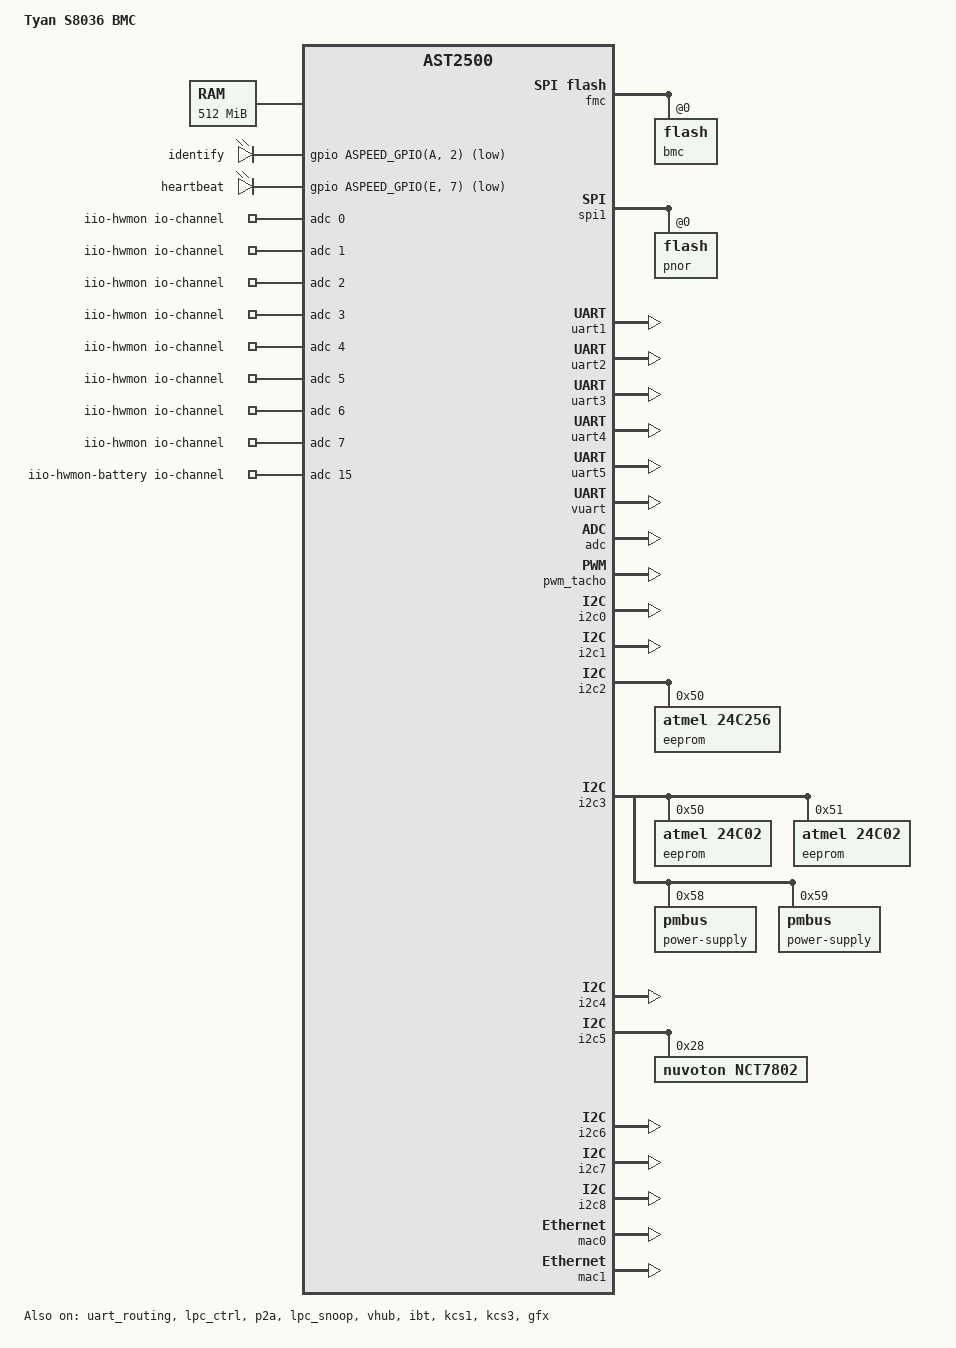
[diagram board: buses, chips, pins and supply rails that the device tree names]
// SPDX-License-Identifier: GPL-2.0+
/dts-v1/;

#include "aspeed-g5.dtsi"
#include <dt-bindings/gpio/aspeed-gpio.h>
#include <dt-bindings/interrupt-controller/irq.h>

/ {
	model = "Tyan S8036 BMC";
	compatible = "tyan,s8036-bmc", "aspeed,ast2500";

	chosen {
		stdout-path = &uart5;
		bootargs = "console=ttyS4,115200 earlycon";
	};

	memory@80000000 {
		device_type = "memory";
		reg = <0x80000000 0x20000000>;
	};

	reserved-memory {
		#address-cells = <1>;
		#size-cells = <1>;
		ranges;

		p2a_memory: region@987f0000 {
			no-map;
			reg = <0x987f0000 0x00010000>; /* 64KB */
		};

		vga_memory: framebuffer@9f000000 {
			no-map;
			reg = <0x9f000000 0x01000000>; /* 16M */
		};

		gfx_memory: framebuffer {
			size = <0x01000000>; /* 16M */
			alignment = <0x01000000>;
			compatible = "shared-dma-pool";
			reusable;
		};
	};

	leds {
		compatible = "gpio-leds";

		identify {
			gpios = <&gpio ASPEED_GPIO(A, 2) GPIO_ACTIVE_LOW>;
		};

		heartbeat {
			gpios = <&gpio ASPEED_GPIO(E, 7) GPIO_ACTIVE_LOW>;
		};
	};

	iio-hwmon {
		compatible = "iio-hwmon";
		io-channels = <&adc 0>, <&adc 1>, <&adc 2>, <&adc 3>,
			<&adc 4>, <&adc 5>, <&adc 6>, <&adc 7>,
			<&adc 8>, <&adc 9>, <&adc 10>, <&adc 11>,
			<&adc 12>, <&adc 13>, <&adc 14>;
	};

	iio-hwmon-battery {
		compatible = "iio-hwmon";
		io-channels = <&adc 15>;
	};
};

&fmc {
	status = "okay";
	flash@0 {
		label = "bmc";
		status = "okay";
		m25p,fast-read;
#include "openbmc-flash-layout.dtsi"
	};
};

&spi1 {
	status = "okay";
	pinctrl-names = "default";
	pinctrl-0 = <&pinctrl_spi1_default>;

	flash@0 {
		status = "okay";
		label = "pnor";
		m25p,fast-read;
	};
};

&uart1 {
	/* Rear RS-232 connector */
	status = "okay";
	pinctrl-names = "default";
	pinctrl-0 = <&pinctrl_txd1_default
			&pinctrl_rxd1_default>;
};

&uart2 {
	/* RS-232 connector on header */
	status = "okay";
	pinctrl-names = "default";
	pinctrl-0 = <&pinctrl_txd2_default
			&pinctrl_rxd2_default>;
};

&uart3 {
	/* Alternative to vuart to internally connect (route) to uart1
	 * when vuart cannot be used due to BIOS limitations.
	 */
	status = "okay";
};

&uart4 {
	/* Alternative to vuart to internally connect (route) to the
	 * external port usually used by uart1 when vuart cannot be
	 * used due to BIOS limitations.
	 */
	status = "okay";
};

&uart5 {
	/* BMC "debug" (console) UART; connected to RS-232 connector
	 * on header; selectable via jumpers as alternative to uart2
	 */
	status = "okay";
};

&uart_routing {
	status = "okay";
};

&vuart {
	status = "okay";

	/* We enable the VUART here, but leave it in a state that does
	 * not interfere with the SuperIO. The goal is to have both the
	 * VUART and the SuperIO available and decide at runtime whether
	 * the VUART should actually be used. For that reason, configure
	 * an "invalid" IO address and an IRQ that is not used by the
	 * BMC.
	 */
	aspeed,lpc-io-reg = <0xffff>;
	aspeed,lpc-interrupts = <15 IRQ_TYPE_LEVEL_HIGH>;
};

&lpc_ctrl {
	status = "okay";
};

&p2a {
	status = "okay";
	memory-region = <&p2a_memory>;
};

&lpc_snoop {
	status = "okay";
	snoop-ports = <0x80>;
};

&adc {
	status = "okay";
};

&vhub {
	status = "okay";
};

&pwm_tacho {
	status = "okay";
	pinctrl-names = "default";
	pinctrl-0 = <&pinctrl_pwm0_default
			&pinctrl_pwm1_default
			&pinctrl_pwm3_default
			&pinctrl_pwm4_default>;

	/* CPU fan */
	fan@0 {
		reg = <0x00>;
		aspeed,fan-tach-ch = /bits/ 8 <0x00>;
	};

	/* PWM group for chassis fans #1, #2, #3 and #4 */
	fan@2 {
		reg = <0x03>;
		aspeed,fan-tach-ch = /bits/ 8 <0x02>;
	};

	fan@3 {
		reg = <0x03>;
		aspeed,fan-tach-ch = /bits/ 8 <0x03>;
	};

	fan@4 {
		reg = <0x03>;
		aspeed,fan-tach-ch = /bits/ 8 <0x04>;
	};

	fan@5 {
		reg = <0x03>;
		aspeed,fan-tach-ch = /bits/ 8 <0x05>;
	};

	/* PWM group for chassis fans #5 and #6  */
	fan@6 {
		reg = <0x04>;
		aspeed,fan-tach-ch = /bits/ 8 <0x06>;
	};

	fan@7 {
		reg = <0x04>;
		aspeed,fan-tach-ch = /bits/ 8 <0x07>;
	};
};

&i2c0 {
	/* Directly connected to Sideband-Temperature Sensor Interface (APML) */
	status = "okay";
};

&i2c1 {
	/* Directly connected to IPMB HDR. */
	status = "okay";
};

&i2c2 {
	status = "okay";

	/* BMC EEPROM, incl. mainboard FRU */
	eeprom@50 {
		compatible = "atmel,24c256";
		reg = <0x50>;
	};
	/* Also connected to:
	 * - BCM5720
	 * - FPGA
	 * - FAN HDR
	 * - FPIO HDR
	 */
};

&i2c3 {
	status = "okay";

	/* PSU1 FRU @ 0xA0 */
	eeprom@50 {
		compatible = "atmel,24c02";
		reg = <0x50>;
	};

	/* PSU2 FRU @ 0xA2 */
	eeprom@51 {
		compatible = "atmel,24c02";
		reg = <0x51>;
	};

	/* PSU1 @ 0xB0 */
	power-supply@58 {
		compatible = "pmbus";
		reg = <0x58>;
	};

	/* PSU2 @ 0xB2 */
	power-supply@59 {
		compatible = "pmbus";
		reg = <0x59>;
	};

};

&i2c4 {
	status = "okay";
};

&i2c5 {
	status = "okay";
	/* Hardware monitor with temperature sensors */
	nct7802@28 {
		compatible = "nuvoton,nct7802";
		reg = <0x28>;
		#address-cells = <1>;
		#size-cells = <0>;

		channel@0 { /* LTD */
			reg = <0>;
			status = "okay";
		};

		channel@1 { /* RTD1 */
			reg = <1>;
			status = "okay";
			sensor-type = "temperature";
			temperature-mode = "thermistor";
		};

		channel@2 { /* RTD2 */
			reg = <2>;
			status = "okay";
			sensor-type = "temperature";
			temperature-mode = "thermistor";
		};

		channel@3 { /* RTD3 */
			reg = <3>;
			status = "okay";
			sensor-type = "temperature";
		};
	};

	/* Also connected to:
	 * - PCA9544
	 * - CLK BUFF
	 * - OCP FRU
	 */
};

&i2c6 {
	status = "okay";
	/* Connected to:
	 * - PCA9548 @0xE0
	 * - PCA9548 @0xE2
	 * - PCA9544 @0xE4
	 */
};

&i2c7 {
	status = "okay";

	/* Connected to:
	 * - PCH SMBUS #4
	 */
};

&i2c8 {
	status = "okay";

	/* Not connected */
};

&mac0 {
	status = "okay";
	use-ncsi;
	pinctrl-names = "default";
	pinctrl-0 = <&pinctrl_rmii1_default>;
};

&mac1 {
	status = "okay";
	pinctrl-names = "default";
	pinctrl-0 = <&pinctrl_rgmii2_default &pinctrl_mdio2_default>;
};

&ibt {
	status = "okay";
};

&kcs1 {
	status = "okay";
	aspeed,lpc-io-reg = <0xca8>;
};

&kcs3 {
	status = "okay";
	aspeed,lpc-io-reg = <0xca2>;
	aspeed,lpc-interrupts = <1 IRQ_TYPE_LEVEL_HIGH>;
};

/* Enable BMC VGA output to show an early (pre-BIOS) boot screen */
&gfx {
	status = "okay";
	memory-region = <&gfx_memory>;
};

/* We're following the GPIO naming as defined at
 * https://github.com/openbmc/docs/blob/master/designs/device-tree-gpio-naming.md.
 *
 * Notes on led-identify and id-button:
 * - A physical button is connected to id-button which
 *   triggers the clock on a D flip-flop. The /Q output of the
 *   flip-flop drives its D input.
 * - The flip-flop's Q output drives led-identify which is
 *   connected to LEDs.
 * - With that, every button press toggles the LED between on and off.
 *
 * Notes on power-, reset- and nmi- button and control:
 * - The -button signals can be used to monitor physical buttons.
 * - The -control signals can be used to actuate the specific
 *   operation.
 * - In hardware, the -button signals are connected to the -control
 *   signals through drivers with the -control signals being
 *   protected through diodes.
 */
&gpio {
	status = "okay";
	gpio-line-names =
	/*A0*/		"",
	/*A1*/		"",
	/*A2*/		"led-identify", /* in/out: BMC_CHASSIS_ID_LED_L */
	/*A3*/		"",
	/*A4*/		"",
	/*A5*/		"",
	/*A6*/		"",
	/*A7*/		"",
	/*B0-B7*/	"","","","","","","","",
	/*C0-C7*/	"","","","","","","","",
	/*D0*/		"",
	/*D1*/		"",
	/*D2*/		"power-chassis-good", /* in: PWR_GOOD_LED -- Check if this is Z3?*/
	/*D3*/		"platform-reset", /* in: RESET_LED_L */
	/*D4*/		"",
	/*D5*/		"",
	/*D6*/		"",
	/*D7*/		"",
	/*E0*/		"power-button", /* in: BMC_SYS_MON_PWR_BTN_L */
	/*E1*/		"power-chassis-control", /* out: BMC_ASSERT_PWR_BTN */
	/*E2*/		"reset-button", /* in: BMC_SYS_MOS_RST_BTN_L*/
	/*E3*/		"reset-control", /* out: BMC_ASSERT_RST_BTN */
	/*E4*/		"nmi-button", /* in: BMC_SYS_MON_NMI_BTN_L */
	/*E5*/		"nmi-control", /* out: BMC_ASSERT_NMI_BTN */
	/*E6*/		"TSI_RESERT",
	/*E7*/		"led-heartbeat", /* out: BMC_GPIOE7 */
	/*F0*/		"",
	/*F1*/		"clear-cmos-control", /* out: BMC_ASSERT_CLR_CMOS_L */
	/*F2*/		"",
	/*F3*/		"",
	/*F4*/		"led-fault", /* out: BMC_HWM_FAULT_LED_L */
	/*F5*/		"BMC_SYS_FAULT_LED_L",
	/*F6*/		"BMC_ASSERT_BIOS_WP_L",
	/*F7*/		"",
	/*G0-G7*/	"","","","","","","","",
	/*H0-H7*/	"","","","","","","","",
	/*I0-I7*/	"","","","","","","","",
	/*J0-J7*/	"","","","","","","","",
	/*K0-K7*/	"","","","","","","","",
	/*L0-L7*/	"","","","","","","","",
	/*M0-M7*/	"","","","","","","","",
	/*N0-N7*/	"","","","","","","","",
	/*O0-O7*/	"","","","","","","","",
	/*P0-P7*/	"","","","","","","","",
	/*Q0*/		"",
	/*Q1*/		"",
	/*Q2*/		"",
	/*Q3*/		"",
	/*Q4*/		"",
	/*Q5*/		"",
	/*Q6*/		"id-button", /* in: BMC_CHASSIS_ID_BTN_L */
	/*Q7*/		"",
	/*R0-R7*/	"","","","","","","","",
	/*S0-S7*/	"","","","","","","","",
	/*T0-T7*/	"","","","","","","","",
	/*U0-U7*/	"","","","","","","","",
	/*V0-V7*/	"","","","","","","","",
	/*W0-W7*/	"","","","","","","","",
	/*X0-X7*/	"","","","","","","","",
	/*Y0-Y7*/	"","","","","","","","",
	/*Z0-Z2*/	"","","",
	/*Z3*/		"post-complete", /* BMC_SYS_MON_PWROK */
	/*Z4-Z7*/	"","","","",
	/*AA0*/		"",
	/*AA1*/		"",
	/*AA2*/		"",
	/*AA3*/		"",
	/*AA4*/		"",
	/*AA5*/		"",
	/*AA6*/		"",
	/*AA7*/		"BMC_ASSERT_BMC_READY",
	/*AB0*/		"BMC_SPD_SEL",
	/*AB1-AB7*/	"","","","","","","";
};
